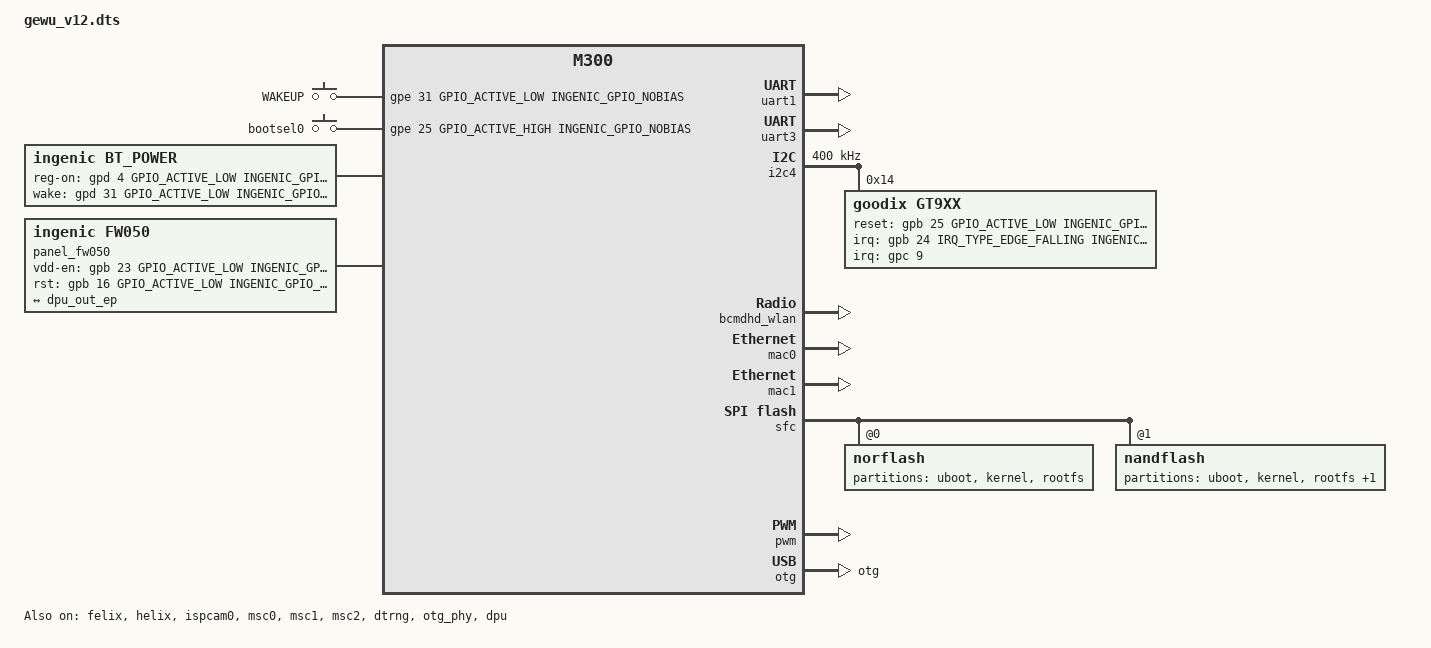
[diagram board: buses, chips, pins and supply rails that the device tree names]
/dts-v1/;

#include <dt-bindings/input/input.h>
#include "m300.dtsi"
#include <dt-bindings/interrupt-controller/irq.h>
#include <generated/autoconf.h>

#ifdef CONFIG_CAMERA_V10
#ifdef CONFIG_OV4689_1080P_120FPS
#include "gewu_cameras/CAMERA_1.0_4LINE.dtsi"
#else
#include "gewu_cameras/CAMERA_1.0.dtsi"
#endif
#endif

/ {
	compatible = "ingenic,gewu_v12", "ingenic,m300";

	/*chosen {
		bootargs = "console=ttyS1,115200 mem=128M@0x0ip=off init=/linuxrc ubi.mtd=3 root=ubi0:rootfs ubi.mtd=4 rootfstype=ubifs rw";
	};*/


	reserved-memory {
		#address-cells = <1>;
		#size-cells = <1>;
		ranges =<>;

		reserved_memory: reserved_mem@0x6000000{
		      compatible = "shared-dma-pool";
		      reg = <0x06000000 0x2000000>;
		};
	};
};

&uart1 {
	status = "okay";
	pinctrl-names = "default";
	pinctrl-0 = <&uart1_pc_rx_tx>;
};

&uart3 {
	status = "okay";
	pinctrl-names = "default";
	pinctrl-0 = <&uart3_pd>;
};

&cpufreq {
	status = "okay";
	operating-points = <
		/*KHZ uV */
		1200000	900000
		750000	900000
		600000	900000
		500000	900000
		400000	900000
		375000	900000
		300000	900000
		200000	900000
			>;

};

&pinctrl {
	ingenic,gpa_voltage = <GPIO_VOLTAGE_1V8>;
};

&pinctrl {
	touchscreen_pins:touchscreen-pins {
		touchscreen_int_out_high:touchscreen-int-out-high {
			ingenic,pinmux = <&gpb 24 24>;
			ingenic,pinmux-funcsel = <PINCTL_FUNCHILVL>;
		};
		touchscreen_int_out_low:touchscreen-int-out-low {
			ingenic,pinmux = <&gpb 24 24>;
			ingenic,pinmux-funcsel = <PINCTL_FUNCLOLVL>;
		};
		touchscreen_int_input:touchscreen-int-input {
			ingenic,pinmux = <&gpb 24 24>;
			ingenic,pinmux-funcsel = <PINCTL_FUNCINPUT_FE>;
		};
		touchscreen_default:touchscreen-default {
			ingenic,pinmux = <&gpb 24 24>;
			ingenic,pinmux-funcsel = <PINCTL_FUNCINPUT>;
		};
	};
};

&i2c0 {
	status = "disable";

};


&i2c4 {
	clock-frequency = <400000>;
	pinctrl-names = "default";
	pinctrl-0 = <&i2c4_pc>;

	goodix@0x14{
		compatible = "goodix,gt9xx"; /* do not modify */
		reg = <0x14>; /* do not modify */
		interrupt-parent = <&gpc>; /* INT pin */
		interrupts = <9>;
		reset-gpios = <&gpb 25  GPIO_ACTIVE_LOW INGENIC_GPIO_NOBIAS>; /* RST pin */
		irq-gpios = <&gpb 24 IRQ_TYPE_EDGE_FALLING INGENIC_GPIO_NOBIAS>; /* INT pin */
		goodix,driver-send-cfg = <1>;
		touchscreen-size-x = <1280>;
		touchscreen-size-y = <720>;
		goodix,slide-wakeup = <0>;
		goodix,type-a-report = <0>;
		goodix,resume-in-workqueue = <0>;
		goodix,int-sync = <1>;
		goodix,swap-x2y = <0>;
		goodix,auto-update-cfg = <0>;
		goodix,power-off-sleep = <0>;
		goodix,pen-suppress-finger = <0>;
		irq-flags = <2>; /* 1 rising, 2 falling */
		pinctrl-names = "default", "int-output-high", "int-output-low", "int-input";
		pinctrl-0 = <&touchscreen_default>;
		pinctrl-1 = <&touchscreen_int_out_high>;
		pinctrl-2 = <&touchscreen_int_out_low>;
		pinctrl-3 = <&touchscreen_int_input>;
		goodix,cfg-group0 = [
			00 D0 02 00 05 0A 05 00 01 08 28
			05 50 32 03 05 00 00 00 00 00 00
			00 00 00 00 00 87 28 09 17 15 31
			0D 00 00 02 9B 03 25 00 00 00 00
			00 03 64 32 00 00 00 0F 36 94 C5
			02 07 00 00 04 9B 11 00 7B 16 00
			64 1C 00 50 25 00 42 2F 00 42 00
			00 00 00 00 00 00 00 00 00 00 00
			00 00 00 00 00 00 00 00 00 00 00
			00 00 00 00 00 00 00 00 00 00 00
			00 00 12 10 0E 0C 0A 08 06 04 02
			FF FF FF FF FF 00 00 00 00 00 00
			00 00 00 00 00 00 00 00 00 00 26
			24 22 21 20 1F 1E 1D 00 02 04 06
			08 0A 0C FF FF FF FF FF FF FF FF
			FF FF FF 00 00 00 00 00 00 00 00
			00 00 00 00 00 00 00 00 CF 01];
	};
};

&felix {
	status = "okay";
	memory-region=<&reserved_memory>;
};

&helix {
	status = "okay";
	memory-region=<&reserved_memory>;
};

&ispcam0 {
	status = "okay";
	memory-region=<&reserved_memory>;
};

&pdma {
	status = "okay";
};

&msc0 {
	status = "okay";
	pinctrl-names ="default";
	pinctrl-0 = <&msc0_8bit>;
	mmc-hs200-1_8v;
	cap-mmc-highspeed;
	non-removable;
	max-frequency = <200000000>;
	bus-width = <8>;
	non-removable;
	voltage-ranges = <1800 3300>;

	/* special property */
	enable_cpm_tx_tuning;
	ingenic,rst-gpios = <0>;
};

&msc1 {
	status = "okay";
	pinctrl-names ="default","enable", "disable";
	pinctrl-0 = <&msc1_4bit>;
	pinctrl-1 = <&rtc32k_enable>;
	pinctrl-2 = <&rtc32k_disable>;

	sd-uhs-sdr104;
	max-frequency = <150000000>;
	bus-width = <4>;
	voltage-ranges = <1800 3300>;
	non-removable;

	ingenic,sdio_clk = <1>;
	keep-power-in-suspend;

	/* special property */
	ingenic,sdr-gpios = <0>;
	ingenic,rst-gpios = <0>;
	ingenic,removal-manual; /*removal-dontcare, removal-nonremovable, removal-removable, removal-manual*/

	bcmdhd_wlan: bcmdhd_wlan {
		 compatible = "android,bcmdhd_wlan";
		 ingenic,sdio-irq = <&gpe 26 IRQ_TYPE_LEVEL_HIGH INGENIC_GPIO_NOBIAS>;
		 ingenic,sdio-reset = <&gpd 5 GPIO_ACTIVE_LOW INGENIC_GPIO_NOBIAS>;
	};
};


&msc2 {
	status = "okay";
	pinctrl-names ="default";
	pinctrl-0 = <&msc2_4bit>;
	sd-uhs-sdr104;
	sd-uhs-sdr50;
	/* cd-inverted; */
	max-frequency = <200000000>;
	bus-width = <4>;
	voltage-ranges = <1800 3300>;

	cd-gpios = <&gpc 1 GPIO_ACTIVE_LOW INGENIC_GPIO_NOBIAS>;
	/* special property */
	ingenic,sdr-gpios = <&gpc 0 GPIO_ACTIVE_HIGH INGENIC_GPIO_NOBIAS>;
	ingenic,rst-gpios = <0>;
};

&mac0 {
	pinctrl-names = "default", "reset";
	pinctrl-0 = <&mac0_rgmii_p0_normal>, <&mac0_rgmii_p1_normal>;
	pinctrl-1 = <&mac0_rgmii_p0_rst>, <&mac0_rgmii_p1_normal>;
	status = "okay";
	ingenic,rst-gpio = <&gpb 2 GPIO_ACTIVE_LOW INGENIC_GPIO_NOBIAS>;
	ingenic,rst-ms = <10>;
	ingenic,rst-delay-ms = <15>;
	ingenic,mac-mode = <RGMII>;
	ingenic,mode-reg = <0xb00000e4>;
	ingenic,rx-clk-delay = <0x2>;
	ingenic,tx-clk-delay = <0x3f>;
	/*force mac mode*/
	ingenic,mac-force = <MAC_OFF>;
	ingenic,mac-autoneg = <MAC_OFF>;
	ingenic,mac-speed = <MAC_SPEED_100M>;
	ingenic,mac-duplex = <MAC_DUPLEX_HALF>;
};

&mac1 {
	pinctrl-names = "default", "reset";
	pinctrl-0 = <&mac1_rgmii_p0_normal>, <&mac1_rgmii_p1_normal>;
	pinctrl-1 = <&mac1_rgmii_p0_rst>, <&mac1_rgmii_p1_normal>;
	status = "okay";
	ingenic,rst-gpio = <&gpb 26 GPIO_ACTIVE_LOW INGENIC_GPIO_NOBIAS>;
	ingenic,rst-ms = <10>;
	ingenic,rst-delay-ms = <15>;
	ingenic,mac-mode = <RGMII>;
	ingenic,mode-reg = <0xb00000e8>;
	ingenic,rx-clk-delay = <0x0>;
	ingenic,tx-clk-delay = <0x3f>;
	/*force mac mode*/
	ingenic,mac-force = <MAC_OFF>;
	ingenic,mac-autoneg = <MAC_OFF>;
	ingenic,mac-speed = <MAC_SPEED_100M>;
	ingenic,mac-duplex = <MAC_DUPLEX_HALF>;
};

&sfc {
	status = "okay";
	pinctrl-names = "default";
	pinctrl-0 = <&sfc_pe>;
	ingenic,sfc-init-frequency = <200000000>;
	ingenic,sfc-max-frequency = <400000000>;
	ingenic,use_ofpart_info  = /bits/ 8 <0>;
	ingenic,spiflash_param_offset = <0>;

	norflash@0 {
		partitions {
			compatible = "fixed-partitions";
			#address-cells = <1>;
			#size-cells = <1>;

			/* spi nor flash partition */
			uboot@0 {
				label = "uboot";
				reg = <0x0000000 0x40000>;
				/*read-only;*/
			};

			kernel@40000 {
				label = "kernel";
				reg = <0x40000 0x300000>;
			};

			rootfs@360000 {
				label = "rootfs";
				reg = <0x360000 0xca0000>;
			};
		};
	};

	nandflash@1 {
		partitions {
			compatible = "fixed-partitions";
			#address-cells = <1>;
			#size-cells = <1>;

			/* spi nand flash partition */
			partition@0 {
				label = "uboot";
				reg = <0x0000000 0x100000>;
				/*read-only;*/
			};

			partition@100000 {
				label = "kernel";
				reg = <0x100000 0x800000>;
			};

			partition@900000 {
				label = "rootfs";
				reg = <0x900000 0x2800000>;
			};

			partition@3100000 {
				label = "userdata";
				reg = <0x3100000 0xcf00000>;
			};
		};
	};

};


&spi0 {
	status = "disable";
	pinctrl-names = "default";
	pinctrl-0 = <&spi0_pb>;

	spi-max-frequency = <54000000>;
	num-cs = <2>;
	cs-gpios = <0>, <0>;
	/*cs-gpios = <&gpa 27 GPIO_ACTIVE_HIGH INGENIC_GPIO_NOBIAS>, <&gpa 27 GPIO_ACTIVE_HIGH INGENIC_GPIO_NOBIAS>;*/
	ingenic,chnl = <0>;
	ingenic,allow_cs_same = <1>;
	ingenic,bus_num = <0>;
	ingenic,has_dma_support = <0>;
	ingenic,spi-src-clk = <1>;/*0.ext; 1.ssi*/

	/* Add SPI interface device */
	spidev: spidev@0 {
		compatible = "rohm,dh2228fv";
		reg = <0>;
		spi-max-frequency = <10000000>;
	};
};

&dtrng {
	status = "okay";
};

&pwm {
	pinctrl-names = "default";
	pinctrl-0 = <&pwm0_pd>;
	status = "okay";
};

&otg {
	g-use-dma;
	dr_mode = "otg"; // host,peripheral,otg
	status = "okay";
};

&otg_phy {
	compatible = "ingenic,innophy", "syscon";
	ingenic,id-dete-gpio = <&gpc 27 GPIO_ACTIVE_LOW INGENIC_GPIO_NOBIAS>;
	ingenic,vbus-dete-gpio = <&gpc 22 GPIO_ACTIVE_LOW INGENIC_GPIO_NOBIAS>;
	ingenic,drvvbus-gpio = <&gpe 22 GPIO_ACTIVE_HIGH INGENIC_GPIO_NOBIAS>;
	status = "okay";
};

&as_dmic {
	pinctrl-names = "default";
	pinctrl-0 = <&dmic_pc_4ch>;
	status = "disable";
};

&dpu {
	status = "okay";
	ingenic,disable-rdma-fb = <1>;
	/*Defines the init state of composer fb export infomations.*/
	ingenic,layer-exported = <1 1 0 0>;
	ingenic,layer-frames   = <2 2 2 2>;
	ingenic,layer-framesize = <720 1280>, <720 1280>, <320 240>, <320 240>;   /*Max framesize for each layer.*/
	layer,color_mode	= <0 0 0 0>;					/*src fmt,*/
	layer,src-size       	= <720 1280>, <720 1280>, <320 240>, <240 200>;	/*Layer src size should smaller than framesize*/
	layer,target-size	= <720 1280>, <720 640>, <160 240>, <240 200>;	/*Target Size should smaller than src_size.*/
	layer,target-pos	= <0 0>, <0 640>, <340 480>, <100 980>;	/*target pos , the start point of the target panel.*/
	layer,enable		= <1 1 1 1>;					/*layer enabled or disabled.*/
	ingenic,logo-pan-layer	= <0>;						/*on which layer should init logo pan on.*/
	port {
		dpu_out_ep: endpoint {
			remote-endpoint = <&panel_fw050_ep>;
		};
	};
};


/ {

	extclk: extclk {
		clock-frequency = <24000000>;
	};

	gpio_keys: gpio_keys {
		   compatible = "gpio-keys";

		   wakeup {
			   label = "WAKEUP";
			   linux,code = <KEY_WAKEUP>;
			   gpios = <&gpe 31 GPIO_ACTIVE_LOW INGENIC_GPIO_NOBIAS>;
			   gpio-key,wakeup;
		   };

		   bootsel0 {
			   label = "bootsel0";
			   linux,code = <KEY_HOME>;
			   gpios = <&gpe 25 GPIO_ACTIVE_HIGH INGENIC_GPIO_NOBIAS>;
		   };

		   /* Conflict with wifi/bt wakeup.
		   bootsel1 {
			   label = "bootsel1";
			   linux,code = <KEY_BACK>;
			   gpios = <&gpe 26 GPIO_ACTIVE_HIGH INGENIC_GPIO_NOBIAS>;
		   };

		   bootsel2 {
			   label = "bootsel2";
			   linux,code = <KEY_MENU>;
			   gpios = <&gpe 27 GPIO_ACTIVE_HIGH INGENIC_GPIO_NOBIAS>;
		   };
		   */
	   };

	/*
	 * gpd 31 bt wakeup host
	 * gpd 4 host wakeup bt
	 */
	bt_power {
		compatible = "ingenic,bt_power";
		ingenic,reg-on-gpio = <&gpd 4 GPIO_ACTIVE_LOW INGENIC_GPIO_NOBIAS>;
		ingenic,wake-gpio = <&gpd 31 GPIO_ACTIVE_LOW INGENIC_GPIO_NOBIAS>;
	};

	sound {
		compatible = "ingenic,m300-sound";
		ingenic,model = "gewu";
	};

	display-dbi {
		compatible = "simple-bus";
		#interrupt-cells = <1>;
		#address-cells = <1>;
		#size-cells = <1>;
		ranges = <>;

		panel_fw050 {
			compatible = "ingenic,fw050";
			status = "okay";
			ingenic,vdd-en-gpio = <&gpb 23 GPIO_ACTIVE_LOW INGENIC_GPIO_NOBIAS>;
			ingenic,rst-gpio = <&gpb 16 GPIO_ACTIVE_LOW INGENIC_GPIO_NOBIAS>;
			port {
				panel_fw050_ep: endpoint {
					remote-endpoint = <&dpu_out_ep>;
				};
			};
		};
	};

	spi_gpio {
		status = "disable";
		compatible = "spi-gpio";
		#address-cells = <1>;
		#size-cells = <0>;

		gpio-sck = <&gpb 28 GPIO_ACTIVE_LOW INGENIC_GPIO_NOBIAS>;
		gpio-miso = <&gpb 29 GPIO_ACTIVE_LOW INGENIC_GPIO_NOBIAS>;
		gpio-mosi = <&gpb 30 GPIO_ACTIVE_LOW INGENIC_GPIO_NOBIAS>;
		cs-gpios = <&gpb 31 GPIO_ACTIVE_LOW INGENIC_GPIO_NOBIAS>;
		num-chipselects = <1>;

		/* clients */
		spidev1: spidev1@0 {
			status = "disable";
			compatible = "rohm,dh2228fv";
			reg = <0>;
			spi-max-frequency = <500000>;
		};
	};
};
